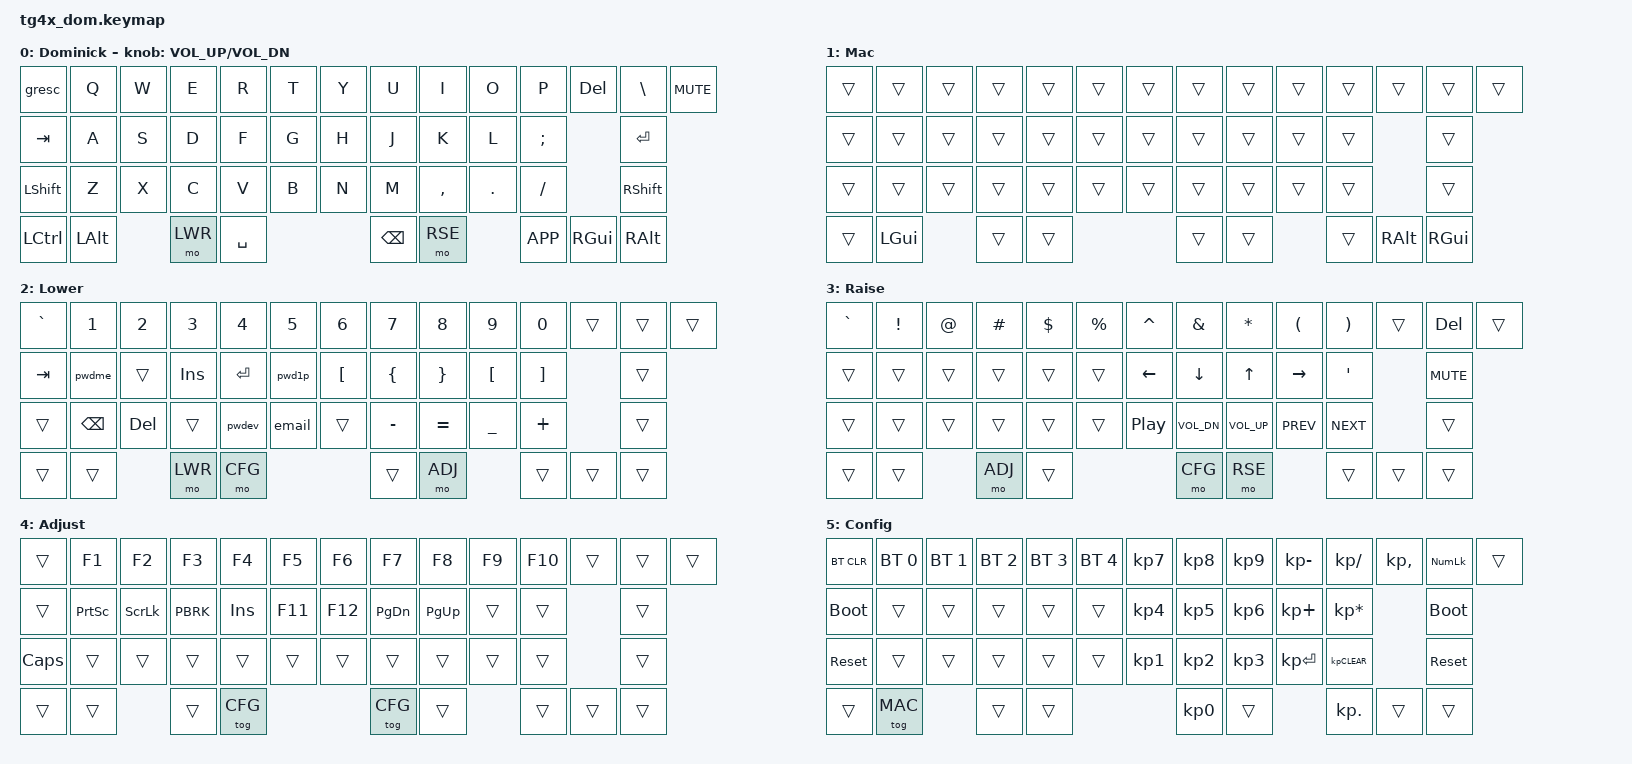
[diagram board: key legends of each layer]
/*
 * Copyright (c) 2020 The ZMK Contributors
 *
 * SPDX-License-Identifier: MIT
 */

#include <behaviors.dtsi>
#include <dt-bindings/zmk/keys.h>
#include <dt-bindings/zmk/bt.h>
#include <dominick.dtsi>

#define MAC 1
#define LWR 2
#define RSE 3
#define ADJ 4
#define CFG 5
#define PBRK (PAUSE_BREAK)

/ {
    keymap {
        compatible = "zmk,keymap";

        default_layer {
            label = "Dominick";
            bindings = <
&gresc        &kp Q  &kp W  &kp E  &kp R  &kp T     &kp Y  &kp U    &kp I     &kp O   &kp P     &kp DEL  &kp BSLH &kp K_MUTE
&kp TAB       &kp A  &kp S  &kp D  &kp F  &kp G     &kp H  &kp J    &kp K     &kp L   &kp SEMI           &kp RET
&kp LSHFT     &kp Z  &kp X  &kp C  &kp V  &kp B     &kp N  &kp M    &kp COMMA &kp DOT &kp FSLH           &kp RSHFT
&kp LCTRL     &kp LALT      &mo LWR  &kp SPACE             &kp BSPC &mo RSE           &kp K_APP &kp RGUI &kp RALT
            >;
            sensor-bindings = <&inc_dec_kp K_VOL_UP K_VOL_DN>;
        };

        mac_layer {
            label = "Mac";
            bindings = <
&trans &trans &trans &trans &trans &trans   &trans &trans &trans &trans &trans &trans &trans &trans
&trans &trans &trans &trans &trans &trans   &trans &trans &trans &trans &trans        &trans
&trans &trans &trans &trans &trans &trans   &trans &trans &trans &trans &trans        &trans
&trans &kp LGUI      &trans &trans                 &trans &trans        &trans &kp RALT &kp RGUI
            >;
        };

        lower_layer {
            label = "Lower";
            bindings = <
&kp GRAVE &kp N1   &kp N2  &kp N3   &kp N4   &kp N5      &kp N6   &kp N7    &kp N8    &kp N9    &kp N0   &trans &trans &trans
&kp TAB   &pwdme   &trans  &kp INS  &kp RET  &pwd1p      &kp LBKT &kp LBRC  &kp RBRC  &kp LBKT  &kp RBKT        &trans
&trans    &kp BSPC &kp DEL &trans   &pwdev   &email      &trans   &kp MINUS &kp EQUAL &kp UNDER &kp PLUS        &trans
&trans    &trans           &mo LWR  &mo CFG                       &trans    &mo ADJ             &trans   &trans &trans
            >;
        };

        raise_layer {
            label = "Raise";
            bindings = <
&kp GRAVE &kp EXCL &kp AT  &kp HASH &kp DLLR &kp PRCNT   &kp CARET &kp AMPS &kp STAR  &kp LPAR  &kp RPAR &trans &kp DEL &trans
&trans    &trans   &trans  &trans   &trans   &trans      &kp LEFT  &kp DOWN &kp UP    &kp RIGHT &kp SQT         &kp C_MUTE
&trans    &trans   &trans  &trans   &trans   &trans      &kp C_PP  &kp C_VOL_DN &kp C_VOL_UP  &kp C_PREV  &kp C_NEXT        &trans
&trans    &trans           &mo ADJ  &trans                         &mo CFG  &mo RSE             &trans   &trans &trans
            >;
        };

        adjust_layer {
            label = "Adjust";
            bindings = <
&trans    &kp F1    &kp F2   &kp F3   &kp F4  &kp F5     &kp F6  &kp F7    &kp F8    &kp F9 &kp F10 &trans &trans &trans
&trans    &kp PSCRN &kp SLCK &kp PBRK &kp INS &kp F11    &kp F12 &kp PG_DN &kp PG_UP &trans &trans         &trans
&kp CAPS  &trans    &trans   &trans   &trans  &trans     &trans  &trans    &trans    &trans &trans         &trans
&trans    &trans             &trans   &tog CFG                   &tog CFG  &trans           &trans  &trans &trans
            >;
        };

        cfg_layer {
            label = "Config";
            bindings = <
&bt BT_CLR  &bt BT_SEL 0 &bt BT_SEL 1 &bt BT_SEL 2 &bt BT_SEL 3 &bt BT_SEL 4  &kp KP_N7 &kp KP_N8 &kp KP_N9 &kp KP_MINUS &kp KP_DIVIDE &kp KP_COMMA &kp KP_NUM &trans
&bootloader &trans &trans &trans &trans &trans                                &kp KP_N4 &kp KP_N5 &kp KP_N6 &kp KP_PLUS  &kp KP_MULTIPLY            &bootloader
&sys_reset  &trans &trans &trans &trans &trans                                &kp KP_N1 &kp KP_N2 &kp KP_N3 &kp KP_ENTER &kp KP_CLEAR               &sys_reset
&trans      &tog MAC      &trans &trans                                       &kp KP_N0 &trans                           &kp KP_DOT    &trans       &trans
            >;
        };

    };
};
